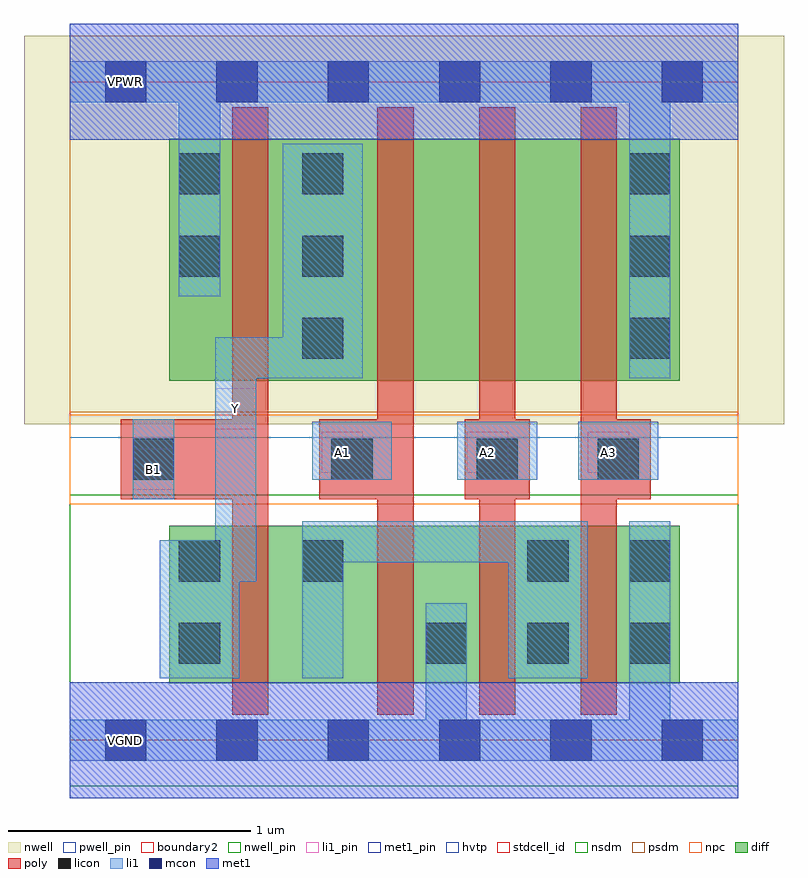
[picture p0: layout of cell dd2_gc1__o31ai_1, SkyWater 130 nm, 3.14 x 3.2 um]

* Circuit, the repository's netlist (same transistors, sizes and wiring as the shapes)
.subckt dd2_gc1__o31ai_1 A1 A2 A3 B1 VGND VNB VPB VPWR Y
X0 Y B1 n1 VNB sky130_fd_pr__nfet_01v8 w=0.65 l=0.15
X1 n1 A1 VGND VNB sky130_fd_pr__nfet_01v8 w=0.65 l=0.15
X2 n1 A2 VGND VNB sky130_fd_pr__nfet_01v8 w=0.65 l=0.15
X3 n1 A3 VGND VNB sky130_fd_pr__nfet_01v8 w=0.65 l=0.15
X4 Y B1 VPWR VPB sky130_fd_pr__pfet_01v8_hvt w=1 l=0.15
X5 Y A1 p1 VPB sky130_fd_pr__pfet_01v8_hvt w=1 l=0.15
X6 p1 A2 p2 VPB sky130_fd_pr__pfet_01v8_hvt w=1 l=0.15
X7 p2 A3 VPWR VPB sky130_fd_pr__pfet_01v8_hvt w=1 l=0.15
.ends

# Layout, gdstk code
import gdstk
lib = gdstk.Library(unit=1e-6, precision=1e-09)
def R(c, l, rs):  # rectangles x0, y0, x1, y1
    for r in rs: c.add(gdstk.rectangle(r[:2], r[2:], *l))
def A(c, l, x, y, w, h, nx, ny, dx, dy):  # array of equal rectangles
    R(c, l, [(x+i*dx, y+j*dy, x+i*dx+w, y+j*dy+h) for i in range(nx) for j in range(ny)])
nwell_pin = (64, 16)
nwell = (64, 20)
diff = (65, 20)
poly = (66, 20)
licon = (66, 44)
li1_pin = (67, 16)
li1 = (67, 20)
mcon = (67, 44)
met1_pin = (68, 16)
met1 = (68, 20)
hvtp = (78, 44)
stdcell_id = (81, 4)
nsdm = (93, 44)
psdm = (94, 20)
npc = (95, 20)
pwell_pin = (122, 16)
boundary2 = (236, 0)

dd2_gc1__o31ai_1 = lib.new_cell('dd2_gc1__o31ai_1')
R(dd2_gc1__o31ai_1, nwell_pin, [(0.145,2.635,0.315,2.805)])
R(dd2_gc1__o31ai_1, nwell, [(-0.19,1.305,2.95,2.91)])
R(dd2_gc1__o31ai_1, diff, [(0.41,0.235,2.52,0.885), (0.41,1.485,2.52,2.485)])
A(dd2_gc1__o31ai_1, poly, 1.27, 0.105, 0.15, 2.51, 3, 1, 0.42, 0)
R(dd2_gc1__o31ai_1, poly, [(0.67,0.105,0.82,2.615), (0.21,0.995,0.82,1.325), (1.03,0.995,1.42,1.325), (1.63,0.995,1.9,1.325), (2.11,0.995,2.4,1.325)])
A(dd2_gc1__o31ai_1, licon, 1.47, 0.315, 0.17, 0.17, 3, 1, 0.42, 0)
A(dd2_gc1__o31ai_1, licon, 0.96, 1.575, 0.17, 0.17, 1, 3, 0, 0.34)
A(dd2_gc1__o31ai_1, licon, 2.31, 1.575, 0.17, 0.17, 1, 3, 0, 0.34)
R(dd2_gc1__o31ai_1, licon, [(0.45,0.315,0.62,0.485), (0.45,0.655,0.62,0.825), (0.96,0.655,1.13,0.825), (1.89,0.655,2.06,0.825), (2.31,0.655,2.48,0.825), (0.26,1.075,0.43,1.245), (1.08,1.075,1.25,1.245), (1.68,1.075,1.85,1.245), (2.18,1.075,2.35,1.245), (0.45,1.915,0.62,2.085), (0.45,2.255,0.62,2.425)])
R(dd2_gc1__o31ai_1, li1_pin, [(0.26,1.035,0.43,1.205), (1.04,1.105,1.21,1.275), (1.64,1.105,1.81,1.275), (2.14,1.105,2.31,1.275), (0.6,1.285,0.77,1.455)])
R(dd2_gc1__o31ai_1, li1, [(0,-0.085,2.76,0.085), (1.47,-0.085,1.64,0.565), (2.31,-0.085,2.48,0.905), (0.37,0.255,0.7,0.825), (0.96,0.255,1.13,0.905), (1.81,0.255,2.14,0.905), (0.45,0.655,0.77,0.825), (0.96,0.735,2.14,0.905), (0.6,0.815,0.77,1.505), (0.26,0.995,0.43,1.325), (1,1.075,1.33,1.315), (1.6,1.075,1.93,1.315), (2.1,1.075,2.43,1.315), (0.6,1.495,1.21,1.665), (0.88,1.495,1.21,2.465), (2.31,1.495,2.48,2.805), (0.45,1.835,0.62,2.805), (0,2.635,2.76,2.805)])
A(dd2_gc1__o31ai_1, mcon, 0.145, -0.085, 0.17, 0.17, 6, 2, 0.46, 2.72)
R(dd2_gc1__o31ai_1, met1_pin, [(0.145,-0.085,0.315,0.085), (0.145,2.635,0.315,2.805)])
R(dd2_gc1__o31ai_1, met1, [(0,-0.24,2.76,0.24), (0,2.48,2.76,2.96)])
R(dd2_gc1__o31ai_1, hvtp, [(0,1.25,2.76,2.72)])
R(dd2_gc1__o31ai_1, stdcell_id, [(0,0,2.76,2.72)])
R(dd2_gc1__o31ai_1, nsdm, [(0,-0.19,2.76,1.015)])
R(dd2_gc1__o31ai_1, psdm, [(0,1.355,2.76,2.91)])
R(dd2_gc1__o31ai_1, npc, [(0,0.975,2.76,1.345)])
R(dd2_gc1__o31ai_1, pwell_pin, [(0.145,-0.085,0.315,0.085)])
R(dd2_gc1__o31ai_1, boundary2, [(0,0,2.76,2.72)])
dd2_gc1__o31ai_1.add(gdstk.Label('B1', (0.345,1.12), layer=67, texttype=5))
dd2_gc1__o31ai_1.add(gdstk.Label('A1', (1.125,1.19), layer=67, texttype=5))
dd2_gc1__o31ai_1.add(gdstk.Label('A2', (1.725,1.19), layer=67, texttype=5))
dd2_gc1__o31ai_1.add(gdstk.Label('A3', (2.225,1.19), layer=67, texttype=5))
dd2_gc1__o31ai_1.add(gdstk.Label('Y', (0.685,1.37), layer=67, texttype=5))
dd2_gc1__o31ai_1.add(gdstk.Label('VGND', (0.23,0), layer=68, texttype=5))
dd2_gc1__o31ai_1.add(gdstk.Label('VPWR', (0.23,2.72), layer=68, texttype=5))
dd2_gc1__o31ai_1.add(gdstk.Label('VPB', (0.23,2.72), layer=64, texttype=5))
dd2_gc1__o31ai_1.add(gdstk.Label('VNB', (0.23,0), layer=64, texttype=59))

lib.write_gds('dd2_gc1__o31ai_1.gds')
